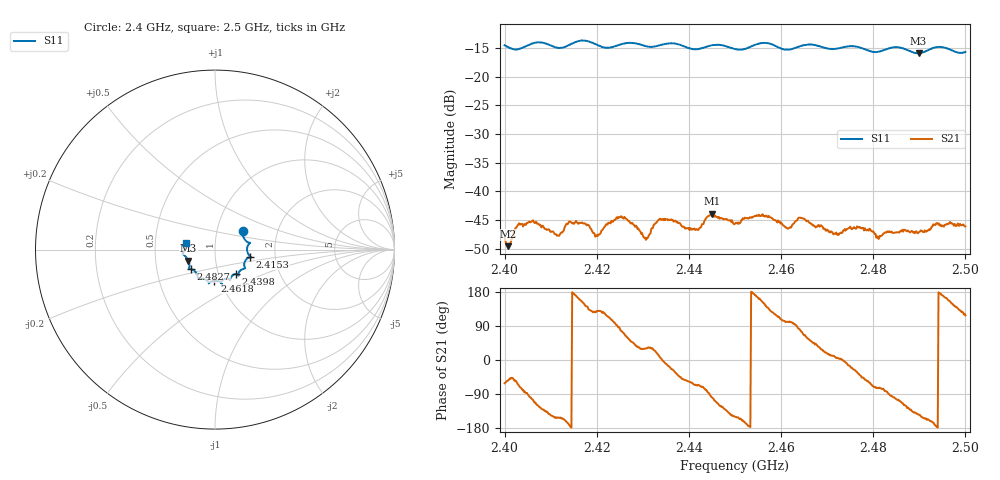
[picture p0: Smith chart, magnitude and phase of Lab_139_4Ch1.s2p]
# Hz S RI R 50
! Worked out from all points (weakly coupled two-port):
!   601 points, 2.4 GHz to 2.5 GHz, reference 50 ohm
!   highest |S21| = -43.94 dB at 2.445 GHz (marker M1); lowest = -49.6 dB at 2.4008 GHz (marker M2)
!   lowest |S11| = -15.9 dB at 2.4898 GHz (marker M3), VSWR 1.38, Z = 36.9 - j4.66 ohm
!   |S11| at or under -10 dB: start of sweep to end of sweep
!   S12 and S22 are empty: the file has one direction only
!   S11 on the Smith chart (normalised r, x): 2.4 GHz: 1.33, +0.29; 2.4153 GHz: 1.48, -0.12; 2.4398 GHz: 1.21, -0.34; 2.4618 GHz: 0.94, -0.33; 2.4827 GHz: 0.75, -0.17; 2.5 GHz: 0.72, +0.06
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2.4e9  0.1551 0.1064  0.00189 -0.00345  0 0  0 0
2.400833e9  0.1546 0.0936  0.00199 -0.00265  0 0  0 0
2.403333e9  0.1671 0.0548  0.00161 -0.00485  0 0  0 0
2.4115e9  0.1789 0.00739  -0.00362 -0.00197  0 0  0 0
2.415333e9  0.1967 -0.0392  -0.0053 0.000853  0 0  0 0
2.416667e9  0.2026 -0.0433  -0.00484 0.00215  0 0  0 0
2.420167e9  0.1832 -0.0468  -0.0026 0.00312  0 0  0 0
2.425667e9  0.1662 -0.1004  0.00179 0.00561  0 0  0 0
2.430667e9  0.1462 -0.1133  0.00325 0.0019  0 0  0 0
2.433333e9  0.1303 -0.1339  0.00543 0.00136  0 0  0 0
2.439833e9  0.1153 -0.1362  0.00264 -0.00393  0 0  0 0
2.445e9  0.0836 -0.1687  -0.000977 -0.00628  0 0  0 0
2.45e9  0.065 -0.1619  -0.0045 -0.00262  0 0  0 0
2.455667e9  0.0375 -0.1929  -0.00566 0.00239  0 0  0 0
2.461833e9  -0.00351 -0.1727  -0.000966 0.00471  0 0  0 0
2.464167e9  -0.0292 -0.1828  0.00118 0.00574  0 0  0 0
2.466667e9  -0.0348 -0.1879  0.00345 0.00386  0 0  0 0
2.471833e9  -0.0684 -0.1614  0.00422 0.000489  0 0  0 0
2.482667e9  -0.1346 -0.1087  0.000634 -0.00432  0 0  0 0
2.483333e9  -0.1396 -0.1084  4.09e-05 -0.0044  0 0  0 0
2.489833e9  -0.1481 -0.0616  -0.00351 -0.00259  0 0  0 0
2.5e9  -0.16 0.0386  -0.00229 0.00437  0 0  0 0
